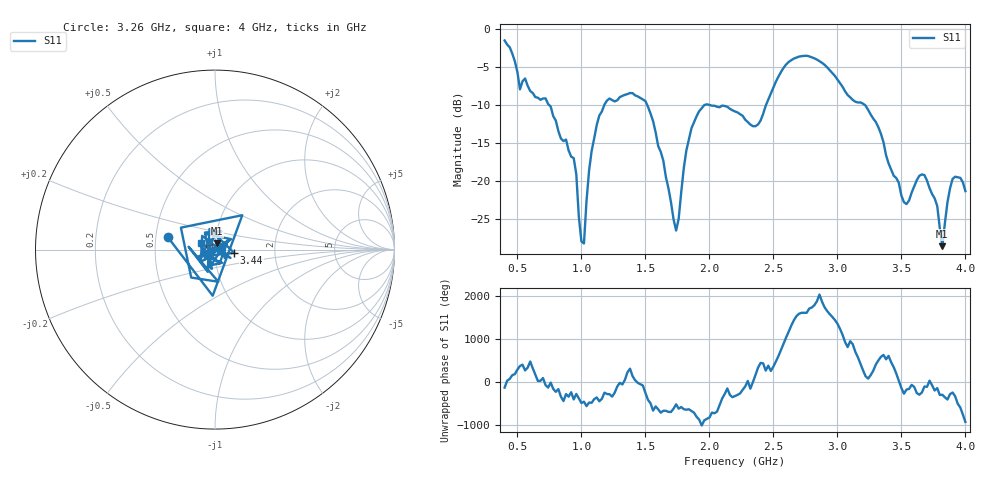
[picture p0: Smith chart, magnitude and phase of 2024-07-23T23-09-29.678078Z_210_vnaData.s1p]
!Created with skrf (http://scikit-rf.org).
# Hz S RI R 50.0
!freq ReS11 ImS11
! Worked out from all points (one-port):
!   181 points, 400 MHz to 4 GHz, reference 50 ohm
!   lowest |S11| = -28.6 dB at 3.82 GHz (marker M1), VSWR 1.08, Z = 51.2 + j3.57 ohm
!   |S11| at or under -10 dB: 1.514 GHz to 1.961 GHz (446.8 MHz wide, 25.7 % of centre); 2.003 GHz to 2.442 GHz (438.9 MHz wide, 19.7 % of centre); 3.214 GHz to end of sweep (the widest 3 of 4)
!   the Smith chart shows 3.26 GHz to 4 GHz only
!   S11 on the Smith chart (normalised r, x): 3.26 GHz: 0.58, +0.09; 3.44 GHz: 1.24, -0.05; 4 GHz: 0.85, +0.06
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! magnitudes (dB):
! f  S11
! 400 MHz  -1.5
! 520 MHz  -7.9
! 720 MHz  -9.1
! 860 MHz  -14.8
! 940 MHz  -17.0
! 1 GHz  -28.0
! 1.02 GHz  -28.2
! 1.06 GHz  -18.6
! 1.12 GHz  -12.6
! 1.3 GHz  -9.0
! 1.5 GHz  -9.5
! 1.64 GHz  -17.3
! 1.74 GHz  -26.5
! 1.76 GHz  -25.0
! 1.82 GHz  -16.0
! 1.92 GHz  -10.8
! 2.2 GHz  -10.9
! 2.38 GHz  -12.6
! 2.66 GHz  -3.9
! 3.1 GHz  -9.0
! 3.26 GHz  -11.2
! 3.44 GHz  -19.3
! 3.56 GHz  -22.6
! 3.68 GHz  -19.2
! 3.78 GHz  -23.3
! 3.82 GHz  -28.6
! 3.9 GHz  -19.7
! 4 GHz  -21.3
